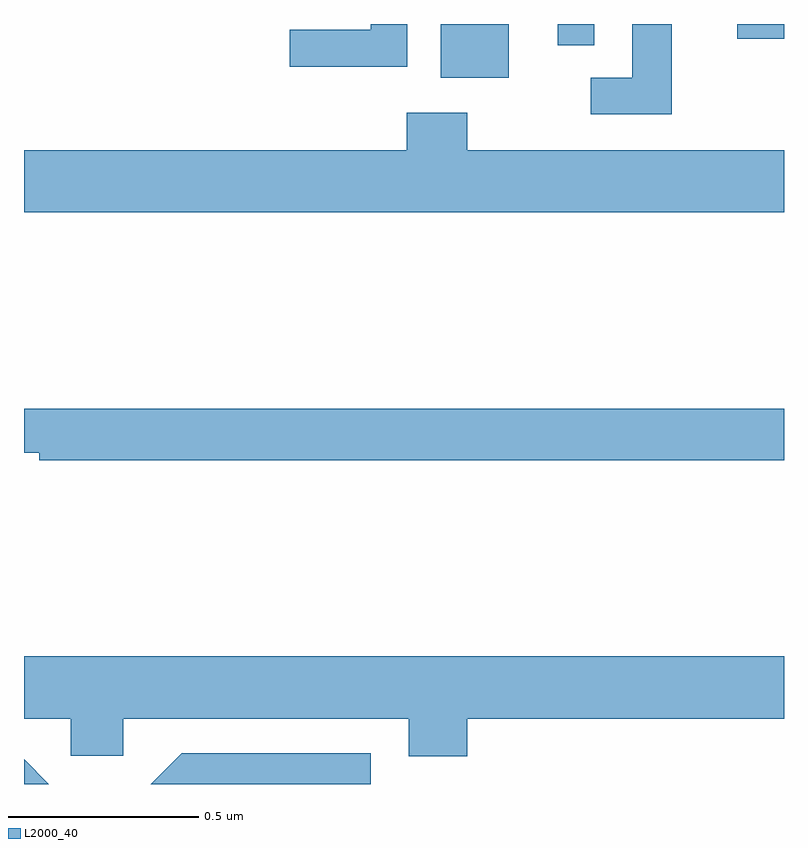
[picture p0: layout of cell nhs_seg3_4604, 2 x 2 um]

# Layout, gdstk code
import gdstk
lib = gdstk.Library(unit=1e-6, precision=1e-09)
def R(c, l, rs):  # rectangles x0, y0, x1, y1
    for r in rs: c.add(gdstk.rectangle(r[:2], r[2:], *l))
def P(c, l, *ps):  # polygons
    for p in ps: c.add(gdstk.Polygon(p, *l))
L2000_40 = (2000, 40)

nhs_seg3_4604 = lib.new_cell('nhs_seg3_4604')
R(nhs_seg3_4604, L2000_40, [(169.097,713.258,169.276,713.4), (169.404,713.344,169.5,713.4), (169.877,713.361,170,713.4)])
P(nhs_seg3_4604, L2000_40, [(169.705,713.4),(169.601,713.4),(169.601,713.259),(169.491,713.259),(169.491,713.163),(169.705,713.163)],
  [(169.008,713.4),(168.912,713.4),(168.912,713.385),(168.699,713.385),(168.699,713.287),(169.008,713.287)],
  [(170,713.068),(169.167,713.068),(169.167,713.167),(169.007,713.167),(169.007,713.068),(168,713.068),(168,712.904),(170,712.904)],
  [(170,712.388),(168,712.388),(168,712.272),(168.04,712.272),(168.04,712.252),(170,712.252)],
  [(169.166,711.572),(170,711.572),(170,711.736),(168,711.736),(168,711.572),(168.123,711.572),(168.123,711.474),(168.261,711.474),(168.261,711.572),(169.013,711.572),(169.013,711.473),(169.166,711.473)],
  [(168.912,711.481),(168.415,711.481),(168.334,711.4),(168.912,711.4)],
  [(168,711.465),(168,711.4),(168.065,711.4)])

lib.write_gds('nhs_seg3_4604.gds')
